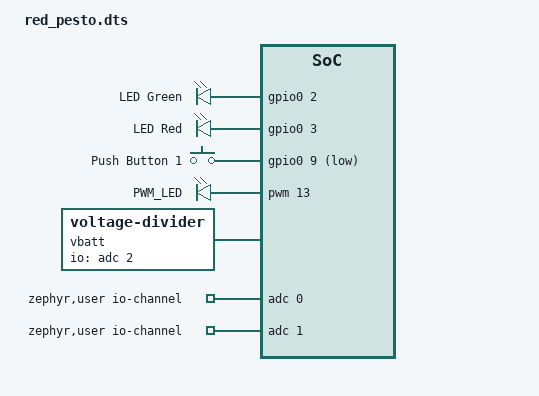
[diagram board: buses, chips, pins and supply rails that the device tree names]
/*
 * Copyright (c) 2021 Yonatan Schachter
 *
 * SPDX-License-Identifier: Apache-2.0
 */

/dts-v1/;

#include "red_pesto-common.dtsi"
#include <zephyr/dt-bindings/input/input-event-codes.h>

/ {
	leds {
		compatible = "gpio-leds";
		led_green: led_green {
			gpios = <&gpio0 2 GPIO_ACTIVE_HIGH>;
			label = "LED Green";
		};
		led_red: led_red {
			gpios = <&gpio0 3 GPIO_ACTIVE_HIGH>;
			label = "LED Red";
		};
	};

	buttons {
		compatible = "gpio-keys";
		button0: button_0 {
			gpios = <&gpio0 9 (GPIO_PULL_UP | GPIO_ACTIVE_LOW)>;
			label = "Push Button 1";
			zephyr,code = <INPUT_KEY_0>;
		};
	};

	pwm_leds {
	compatible = "pwm-leds";
		pwm_led0: pwm_led_0 {
			status = "okay";
			pwms = <&pwm 13 PWM_MSEC(20) PWM_POLARITY_NORMAL>;
			label = "PWM_LED";
		};
	};

	vbatt: vbatt {
		compatible = "voltage-divider";
		io-channels = <&adc 2>;
		output-ohms = <16000>;
		full-ohms = <(15000 + 16000)>;
	};

	aliases {
		led-green = &led_green;
		led-red = &led_red;
		pwm-led0 = &pwm_led0;
	};

	zephyr,user {
		io-channels = <&adc 0>, <&adc 1>;
	};
};
